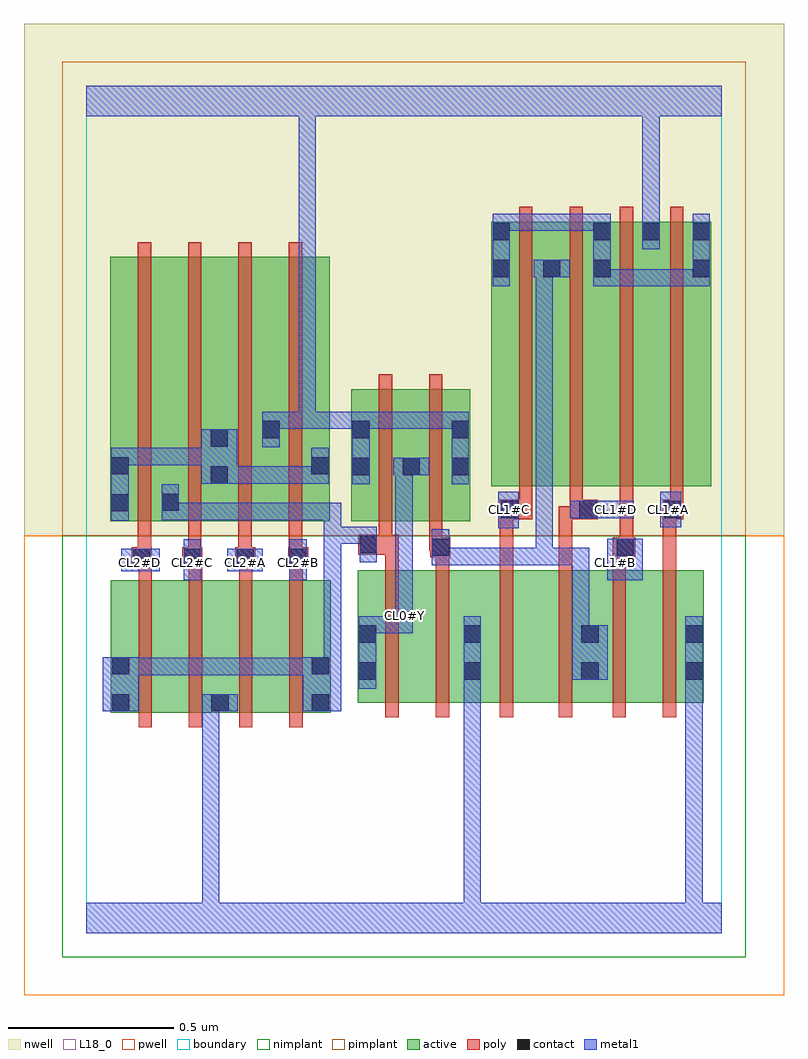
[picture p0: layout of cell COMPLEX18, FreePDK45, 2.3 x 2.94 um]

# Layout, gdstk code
import gdstk
lib = gdstk.Library(unit=1e-6, precision=1e-09)
def R(c, l, rs):  # rectangles x0, y0, x1, y1
    for r in rs: c.add(gdstk.rectangle(r[:2], r[2:], *l))
def A(c, l, x, y, w, h, nx, ny, dx, dy):  # array of equal rectangles
    R(c, l, [(x+i*dx, y+j*dy, x+i*dx+w, y+j*dy+h) for i in range(nx) for j in range(ny)])
active = (1, 0)
pwell = (2, 0)
nwell = (3, 0)
nimplant = (4, 0)
pimplant = (5, 0)
poly = (9, 0)
contact = (10, 0)
metal1 = (11, 0)
L18_0 = (18, 0)
boundary = (235, 0)

complex18 = lib.new_cell('COMPLEX18')
R(complex18, active, [(0.074,0.666,0.134,1.066), (0.074,0.666,0.254,1.066), (0.254,0.666,0.434,1.066), (0.374,0.666,0.558,1.066), (0.374,0.666,0.434,0.828), (0.558,0.666,0.738,1.066), (0.678,0.666,0.738,1.066), (0.82,0.696,0.88,1.096), (0.82,0.696,1,1.096), (1,0.696,1.196,1.096), (1.136,0.696,1.196,1.096), (1.136,0.696,1.346,1.096), (1.346,0.696,1.552,1.096), (1.492,0.696,1.686,1.096), (1.492,0.696,1.552,0.934), (1.686,0.696,1.866,1.096), (1.806,0.696,1.866,1.096), (0.072,1.244,0.132,2.044), (0.072,1.244,0.284,2.044), (0.224,1.244,0.284,2.044), (0.224,1.244,0.432,2.044), (0.372,1.244,0.432,2.044), (0.372,1.244,0.588,2.044), (0.528,1.244,0.736,2.044), (0.676,1.244,0.736,2.044), (0.8,1.244,0.86,1.644), (0.8,1.244,1.012,1.644), (0.952,1.244,1.16,1.644), (1.1,1.244,1.16,1.644), (0.528,1.316,0.588,2.044), (1.224,1.35,1.284,2.15), (1.224,1.35,1.436,2.15), (1.376,1.35,1.588,2.15), (1.528,1.35,1.736,2.15), (1.676,1.35,1.888,2.15), (1.828,1.35,1.888,2.15), (1.528,1.36,1.588,2.15), (1.376,1.364,1.436,2.044), (0.952,1.38,1.012,1.644), (1.676,1.498,1.736,2.15)])
R(complex18, pwell, [(-0.188,-0.188,2.108,1.2)])
R(complex18, nwell, [(-0.188,1.2,2.108,2.748)])
R(complex18, nimplant, [(-0.072,-0.072,1.992,1.2)])
R(complex18, pimplant, [(-0.072,1.2,1.992,2.632)])
A(complex18, poly, 0.158, 0.622, 0.04, 0.488, 4, 1, 0.152, 0)
A(complex18, poly, 0.158, 1.07, 0.04, 0.076, 4, 1, 0.152, 0)
A(complex18, poly, 0.29, 1.106, 0.06, 0.06, 3, 1, 0.16, 0)
A(complex18, poly, 0.156, 1.126, 0.04, 0.114, 4, 1, 0.152, 0)
A(complex18, poly, 0.156, 1.2, 0.04, 0.888, 4, 1, 0.152, 0)
A(complex18, poly, 1.308, 1.306, 0.04, 0.888, 4, 1, 0.152, 0)
R(complex18, poly, [(0.904,0.652,0.944,1.14), (1.056,0.652,1.096,1.14), (1.25,0.652,1.29,1.14), (1.428,0.652,1.468,1.14), (1.59,0.652,1.63,1.14), (1.742,0.652,1.782,1.14), (0.904,1.1,0.944,1.184), (1.056,1.1,1.096,1.176), (1.25,1.1,1.29,1.29), (1.428,1.1,1.468,1.29), (1.59,1.1,1.63,1.176), (1.742,1.1,1.782,1.29), (0.138,1.106,0.198,1.166), (0.31,1.106,0.35,1.146), (0.31,1.106,0.35,1.146), (0.156,1.126,0.196,1.166), (0.156,1.126,0.196,1.166), (0.46,1.126,0.5,1.166), (0.46,1.126,0.5,1.166), (0.612,1.126,0.652,1.166), (0.612,1.126,0.652,1.166), (1.04,1.136,1.1,1.196), (1.59,1.136,1.658,1.196), (0.822,1.144,0.944,1.204), (1.036,1.156,1.076,1.24), (1.036,1.156,1.08,1.196), (1.04,1.156,1.08,1.196), (1.612,1.156,1.652,1.196), (1.612,1.156,1.652,1.196), (1.612,1.156,1.652,1.346), (0.884,1.164,0.924,1.24), (0.884,1.164,0.924,1.204), (0.884,1.164,0.924,1.204), (0.884,1.2,0.924,1.688), (1.036,1.2,1.076,1.688), (1.25,1.25,1.29,1.29), (1.25,1.25,1.29,1.29), (1.25,1.25,1.348,1.31), (1.428,1.25,1.5,1.29), (1.46,1.25,1.5,1.29), (1.46,1.25,1.546,1.31), (1.742,1.25,1.782,1.29), (1.742,1.25,1.782,1.29), (1.742,1.25,1.804,1.31), (1.308,1.27,1.348,1.346), (1.46,1.27,1.5,1.346), (1.764,1.27,1.804,1.346)])
A(complex18, contact, 0.294, 1.11, 0.052, 0.052, 3, 1, 0.16, 0)
A(complex18, contact, 1.228, 1.982, 0.052, 0.052, 3, 1, 0.152, 0)
R(complex18, contact, [(0.078,0.67,0.13,0.722), (0.378,0.67,0.43,0.722), (0.682,0.67,0.734,0.722), (0.824,0.766,0.876,0.818), (1.14,0.766,1.192,0.818), (1.496,0.766,1.548,0.818), (1.81,0.766,1.862,0.818), (0.078,0.782,0.13,0.834), (0.682,0.782,0.734,0.834), (0.824,0.878,0.876,0.93), (1.14,0.878,1.192,0.93), (1.496,0.878,1.548,0.93), (1.81,0.878,1.862,0.93), (0.142,1.11,0.194,1.162), (1.044,1.14,1.096,1.192), (1.602,1.14,1.654,1.192), (0.826,1.148,0.878,1.2), (1.254,1.254,1.306,1.306), (1.49,1.254,1.542,1.306), (1.746,1.254,1.798,1.306), (0.076,1.274,0.128,1.326), (0.228,1.276,0.28,1.328), (0.376,1.358,0.428,1.41), (0.804,1.384,0.856,1.436), (0.956,1.384,1.008,1.436), (1.104,1.384,1.156,1.436), (0.076,1.386,0.128,1.438), (0.68,1.386,0.732,1.438), (0.376,1.47,0.428,1.522), (0.532,1.496,0.584,1.548), (0.804,1.496,0.856,1.548), (1.104,1.496,1.156,1.548), (1.832,1.982,1.884,2.034), (1.228,2.094,1.28,2.146), (1.532,2.094,1.584,2.146), (1.68,2.094,1.732,2.146), (1.832,2.094,1.884,2.146)])
R(complex18, metal1, [(0,0,1.92,0.092), (0.35,0.04,0.402,0.092), (0.35,0.04,0.402,0.092), (0.35,0.04,0.402,0.092), (0.35,0.04,0.402,0.092), (0.35,0.04,0.402,0.092), (0.35,0.04,0.402,0.092), (0.35,0.04,0.402,0.092), (0.35,0.04,0.402,0.092), (0.35,0.04,0.402,0.092), (0.35,0.04,0.402,0.092), (0.35,0.04,0.402,0.722), (1.14,0.04,1.192,0.79), (1.81,0.04,1.862,0.79), (0.05,0.67,0.158,0.834), (0.35,0.67,0.402,0.722), (0.35,0.67,0.402,0.722), (0.35,0.67,0.458,0.722), (0.654,0.67,0.77,0.834), (0.824,0.738,0.876,0.958), (1.14,0.738,1.192,0.958), (1.14,0.738,1.192,0.79), (1.14,0.738,1.192,0.79), (1.14,0.738,1.192,0.79), (1.14,0.738,1.192,0.79), (1.14,0.738,1.192,0.79), (1.14,0.738,1.192,0.79), (1.14,0.738,1.192,0.79), (1.14,0.738,1.192,0.79), (1.14,0.738,1.192,0.79), (1.14,0.738,1.192,0.79), (1.14,0.738,1.192,0.79), (1.14,0.738,1.192,0.79), (1.81,0.738,1.862,0.958), (1.81,0.738,1.862,0.79), (1.81,0.738,1.862,0.79), (1.81,0.738,1.862,0.79), (1.81,0.738,1.862,0.79), (1.81,0.738,1.862,0.79), (1.81,0.738,1.862,0.79), (1.81,0.738,1.862,0.79), (1.81,0.738,1.862,0.79), (1.81,0.738,1.862,0.79), (1.81,0.738,1.862,0.79), (1.81,0.738,1.862,0.79), (1.81,0.738,1.862,0.79), (1.468,0.766,1.576,0.93), (0.106,0.78,0.29,0.832), (0.106,0.78,0.158,0.832), (0.106,0.78,0.158,0.832), (0.238,0.78,0.29,0.832), (0.238,0.78,0.29,0.832), (0.238,0.78,0.29,0.832), (0.238,0.78,0.458,0.832), (0.406,0.78,0.458,0.832), (0.406,0.78,0.458,0.832), (0.406,0.78,0.458,0.832), (0.406,0.78,0.584,0.832), (0.532,0.78,0.584,0.832), (0.532,0.78,0.584,0.832), (0.532,0.78,0.584,0.832), (0.532,0.78,0.706,0.832), (0.718,0.782,0.77,1.228), (1.468,0.878,1.52,1.164), (0.824,0.906,0.986,0.958), (0.934,0.906,0.986,0.958), (0.934,0.906,0.986,0.958), (0.934,0.906,0.986,0.958), (0.934,0.906,0.986,0.958), (0.934,0.906,0.986,1.014), (0.934,0.962,0.986,1.436), (0.294,1.066,0.346,1.19), (0.614,1.066,0.666,1.19), (1.574,1.066,1.682,1.192), (0.106,1.094,0.222,1.162), (0.426,1.094,0.534,1.162), (1.044,1.112,1.096,1.164), (1.044,1.112,1.096,1.164), (1.044,1.112,1.096,1.22), (1.044,1.112,1.266,1.164), (1.214,1.112,1.266,1.164), (1.214,1.112,1.266,1.164), (1.214,1.112,1.266,1.164), (1.214,1.112,1.41,1.164), (1.358,1.112,1.41,1.164), (1.358,1.112,1.41,1.164), (1.358,1.112,1.41,1.164), (1.358,1.112,1.416,1.164), (1.358,1.112,1.41,2.034), (1.364,1.112,1.416,1.164), (1.364,1.112,1.52,1.164), (1.468,1.112,1.52,1.164), (0.826,1.12,0.878,1.228), (0.718,1.176,0.77,1.228), (0.718,1.176,0.788,1.228), (0.718,1.176,0.77,1.3), (0.736,1.176,0.788,1.228), (0.736,1.176,0.878,1.228), (1.244,1.224,1.306,1.334), (1.734,1.226,1.798,1.334), (0.076,1.246,0.128,1.466), (0.228,1.248,0.28,1.3), (0.228,1.248,0.28,1.3), (0.228,1.248,0.28,1.356), (0.228,1.248,0.456,1.3), (0.404,1.248,0.456,1.3), (0.404,1.248,0.456,1.3), (0.404,1.248,0.456,1.3), (0.404,1.248,0.456,1.3), (0.404,1.248,0.456,1.3), (0.404,1.248,0.584,1.3), (0.532,1.248,0.584,1.3), (0.532,1.248,0.584,1.3), (0.532,1.248,0.584,1.3), (0.532,1.248,0.77,1.3), (0.718,1.248,0.77,1.3), (1.462,1.254,1.654,1.306), (0.804,1.356,0.856,1.576), (1.104,1.356,1.156,1.576), (0.348,1.358,0.456,1.522), (0.404,1.358,0.456,1.41), (0.404,1.358,0.456,1.41), (0.404,1.358,0.568,1.41), (0.516,1.358,0.568,1.41), (0.516,1.358,0.568,1.41), (0.516,1.358,0.568,1.41), (0.516,1.358,0.568,1.41), (0.516,1.358,0.568,1.41), (0.516,1.358,0.732,1.41), (0.68,1.358,0.732,1.466), (0.928,1.384,1.036,1.436), (0.934,1.384,0.986,1.436), (0.934,1.384,0.986,1.436), (0.076,1.414,0.128,1.466), (0.076,1.414,0.128,1.466), (0.076,1.414,0.268,1.466), (0.216,1.414,0.4,1.466), (0.216,1.414,0.268,1.466), (0.216,1.414,0.268,1.466), (0.216,1.414,0.268,1.466), (0.532,1.468,0.584,1.576), (0.532,1.524,0.678,1.576), (0.626,1.524,0.678,1.576), (0.626,1.524,0.694,1.576), (0.642,1.524,0.694,1.576), (0.642,1.524,0.694,1.576), (0.642,1.524,0.694,1.576), (0.642,1.524,0.856,1.576), (0.642,1.524,0.694,2.52), (0.804,1.524,0.856,1.576), (0.804,1.524,0.856,1.576), (0.804,1.524,0.856,1.576), (0.804,1.524,0.856,1.576), (0.804,1.524,0.856,1.576), (0.804,1.524,0.856,1.576), (0.804,1.524,0.856,1.576), (0.804,1.524,0.856,1.576), (0.804,1.524,0.986,1.576), (0.934,1.524,0.986,1.576), (0.934,1.524,0.986,1.576), (0.934,1.524,0.986,1.576), (0.934,1.524,1.156,1.576), (1.104,1.524,1.156,1.576), (1.104,1.524,1.156,1.576), (1.228,1.954,1.28,2.174), (1.532,1.954,1.584,2.174), (1.532,1.954,1.584,2.006), (1.532,1.954,1.584,2.006), (1.532,1.954,1.584,2.006), (1.532,1.954,1.584,2.006), (1.532,1.954,1.752,2.006), (1.7,1.954,1.884,2.006), (1.7,1.954,1.752,2.006), (1.7,1.954,1.752,2.006), (1.7,1.954,1.752,2.006), (1.832,1.954,1.884,2.174), (1.352,1.982,1.46,2.034), (1.68,2.066,1.732,2.174), (1.228,2.122,1.306,2.174), (1.254,2.122,1.306,2.174), (1.254,2.122,1.39,2.174), (1.338,2.122,1.39,2.174), (1.338,2.122,1.416,2.174), (1.364,2.122,1.416,2.174), (1.364,2.122,1.584,2.174), (1.68,2.122,1.732,2.52), (0,2.468,1.92,2.56), (0.642,2.468,0.694,2.52), (0.642,2.468,0.694,2.52), (0.642,2.468,0.694,2.52), (0.642,2.468,0.694,2.52), (0.642,2.468,0.694,2.52), (0.642,2.468,0.694,2.52), (1.68,2.468,1.732,2.52), (1.68,2.468,1.732,2.52), (1.68,2.468,1.732,2.52), (1.68,2.468,1.732,2.52), (1.68,2.468,1.732,2.52), (1.68,2.468,1.732,2.52), (1.68,2.468,1.732,2.52), (1.68,2.468,1.732,2.52)])
A(complex18, L18_0, 0.134, 1.094, 0.052, 0.052, 4, 1, 0.16, 0)
R(complex18, L18_0, [(0,0,1.92,0.092), (0.35,0.04,0.402,0.092), (0.35,0.04,0.402,0.092), (0.35,0.04,0.402,0.092), (0.35,0.04,0.402,0.092), (0.35,0.04,0.402,0.092), (0.35,0.04,0.402,0.092), (0.35,0.04,0.402,0.092), (0.35,0.04,0.402,0.092), (0.35,0.04,0.402,0.092), (0.35,0.04,0.402,0.092), (0.35,0.04,0.402,0.722), (1.14,0.04,1.192,0.79), (1.81,0.04,1.862,0.79), (0.35,0.67,0.402,0.722), (0.35,0.67,0.402,0.722), (0.35,0.67,0.458,0.722), (0.824,0.738,0.876,0.958), (1.14,0.738,1.192,0.79), (1.14,0.738,1.192,0.79), (1.14,0.738,1.192,0.79), (1.14,0.738,1.192,0.79), (1.14,0.738,1.192,0.79), (1.14,0.738,1.192,0.79), (1.14,0.738,1.192,0.79), (1.14,0.738,1.192,0.79), (1.14,0.738,1.192,0.79), (1.14,0.738,1.192,0.79), (1.14,0.738,1.192,0.79), (1.14,0.738,1.192,0.79), (1.14,0.738,1.192,0.958), (1.81,0.738,1.862,0.79), (1.81,0.738,1.862,0.79), (1.81,0.738,1.862,0.79), (1.81,0.738,1.862,0.79), (1.81,0.738,1.862,0.79), (1.81,0.738,1.862,0.79), (1.81,0.738,1.862,0.79), (1.81,0.738,1.862,0.79), (1.81,0.738,1.862,0.79), (1.81,0.738,1.862,0.79), (1.81,0.738,1.862,0.79), (1.81,0.738,1.862,0.79), (1.81,0.738,1.862,0.958), (0.824,0.906,0.986,0.958), (0.934,0.906,0.986,0.958), (0.934,0.906,0.986,0.958), (0.934,0.906,0.986,0.958), (0.934,0.906,0.986,0.958), (0.934,0.906,0.986,1.014), (0.934,0.934,0.986,0.986), (0.934,0.962,0.986,1.436), (0.294,1.066,0.346,1.19), (0.614,1.066,0.666,1.19), (1.574,1.066,1.682,1.192), (0.106,1.094,0.222,1.162), (0.426,1.094,0.534,1.162), (1.574,1.094,1.626,1.146), (1.244,1.224,1.306,1.334), (1.734,1.226,1.798,1.334), (1.254,1.254,1.306,1.306), (1.462,1.254,1.654,1.306), (1.574,1.254,1.626,1.306), (1.734,1.254,1.786,1.306), (0.804,1.356,0.856,1.576), (1.104,1.356,1.156,1.576), (0.928,1.384,1.036,1.436), (0.934,1.384,0.986,1.436), (0.934,1.384,0.986,1.436), (0.532,1.468,0.584,1.576), (0.532,1.524,0.678,1.576), (0.626,1.524,0.678,1.576), (0.626,1.524,0.694,1.576), (0.642,1.524,0.694,1.576), (0.642,1.524,0.694,1.576), (0.642,1.524,0.694,1.576), (0.642,1.524,0.694,2.52), (0.642,1.524,0.856,1.576), (0.804,1.524,0.856,1.576), (0.804,1.524,0.856,1.576), (0.804,1.524,0.856,1.576), (0.804,1.524,0.856,1.576), (0.804,1.524,0.856,1.576), (0.804,1.524,0.856,1.576), (0.804,1.524,0.856,1.576), (0.804,1.524,0.856,1.576), (0.804,1.524,0.986,1.576), (0.934,1.524,0.986,1.576), (0.934,1.524,0.986,1.576), (0.934,1.524,0.986,1.576), (0.934,1.524,1.156,1.576), (1.104,1.524,1.156,1.576), (1.104,1.524,1.156,1.576), (1.68,2.066,1.732,2.174), (1.68,2.122,1.732,2.52), (0,2.468,1.92,2.56), (0.642,2.468,0.694,2.52), (0.642,2.468,0.694,2.52), (0.642,2.468,0.694,2.52), (0.642,2.468,0.694,2.52), (0.642,2.468,0.694,2.52), (0.642,2.468,0.694,2.52), (1.68,2.468,1.732,2.52), (1.68,2.468,1.732,2.52), (1.68,2.468,1.732,2.52), (1.68,2.468,1.732,2.52), (1.68,2.468,1.732,2.52), (1.68,2.468,1.732,2.52), (1.68,2.468,1.732,2.52), (1.68,2.468,1.732,2.52)])
R(complex18, boundary, [(0,0,1.92,2.56)])
complex18.add(gdstk.Label('CL0#Y', (0.96,0.96), layer=11, texttype=0))
complex18.add(gdstk.Label('CL1#A', (1.76,1.28), layer=11, texttype=0))
complex18.add(gdstk.Label('CL1#B', (1.6,1.12), layer=11, texttype=0))
complex18.add(gdstk.Label('CL1#C', (1.28,1.28), layer=11, texttype=0))
complex18.add(gdstk.Label('CL1#D', (1.6,1.28), layer=11, texttype=0))
complex18.add(gdstk.Label('CL2#A', (0.48,1.12), layer=11, texttype=0))
complex18.add(gdstk.Label('CL2#B', (0.64,1.12), layer=11, texttype=0))
complex18.add(gdstk.Label('CL2#C', (0.32,1.12), layer=11, texttype=0))
complex18.add(gdstk.Label('CL2#D', (0.16,1.12), layer=11, texttype=0))

lib.write_gds('COMPLEX18.gds')
